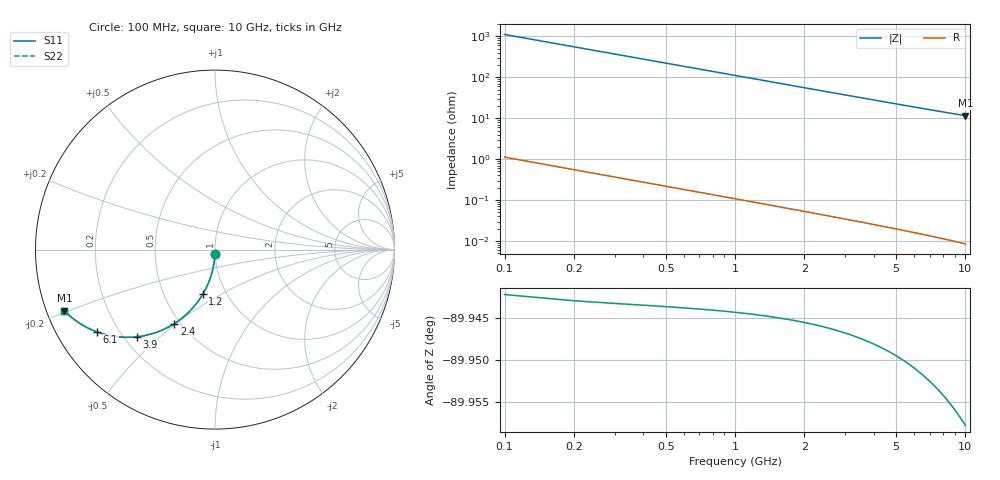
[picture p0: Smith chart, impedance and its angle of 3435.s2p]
# Hz S RI R 50.00
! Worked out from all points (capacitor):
!   100 points, 100 MHz to 10 GHz, reference 50 ohm
!   read as one part in shunt: C = 1.43 pF near 100 MHz
!   lowest |Z| = 11.5 ohm at 10 GHz (marker M1)
!   S11 on the Smith chart (normalised r, x): 100 MHz: 1.00, -0.04; 1.2 GHz: 0.78, -0.41; 2.4 GHz: 0.47, -0.49; 3.9 GHz: 0.25, -0.42; 6.1 GHz: 0.12, -0.31; 10 GHz: 0.05, -0.19
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1e8  -0.000412 -0.0223  0.9994 -0.0228  0.9994 -0.0228  -0.000412 -0.0223
2e8  -0.00195 -0.0445  0.9978 -0.0454  0.9978 -0.0454  -0.00195 -0.0445
3e8  -0.00449 -0.0665  0.9953 -0.068  0.9953 -0.068  -0.00449 -0.0665
4e8  -0.00802 -0.0884  0.9917 -0.0903  0.9917 -0.0903  -0.00802 -0.0884
5e8  -0.0125 -0.1099  0.9872 -0.1124  0.9872 -0.1124  -0.0125 -0.1099
6e8  -0.0179 -0.1312  0.9818 -0.1341  0.9818 -0.1341  -0.0179 -0.1312
7e8  -0.0243 -0.1521  0.9755 -0.1555  0.9755 -0.1555  -0.0243 -0.1521
9e8  -0.0395 -0.1924  0.9602 -0.1968  0.9602 -0.1968  -0.0395 -0.1924
1.2e9  -0.0682 -0.2488  0.9316 -0.2547  0.9316 -0.2547  -0.0682 -0.2488
1.5e9  -0.1026 -0.2994  0.8971 -0.3068  0.8971 -0.3068  -0.1026 -0.2994
1.8e9  -0.1414 -0.3436  0.8583 -0.3525  0.8583 -0.3525  -0.1414 -0.3436
2.1e9  -0.1831 -0.3812  0.8166 -0.3916  0.8166 -0.3916  -0.1831 -0.3812
2.4e9  -0.2265 -0.4122  0.7732 -0.4241  0.7732 -0.4241  -0.2265 -0.4122
2.9e9  -0.2996 -0.4505  0.7 -0.4648  0.7 -0.4648  -0.2996 -0.4505
3.4e9  -0.3705 -0.4741  0.6291 -0.4909  0.6291 -0.4909  -0.3705 -0.4741
3.9e9  -0.4366 -0.4858  0.5629 -0.5051  0.5629 -0.5051  -0.4366 -0.4858
5.1e9  -0.5707 -0.4817  0.4287 -0.5071  0.4287 -0.5071  -0.5707 -0.4817
6.1e9  -0.6561 -0.4591  0.3432 -0.4896  0.3432 -0.4896  -0.6561 -0.4591
6.7e9  -0.6976 -0.4418  0.3016 -0.4754  0.3016 -0.4754  -0.6976 -0.4418
7.5e9  -0.7436 -0.417  0.2554 -0.4547  0.2554 -0.4547  -0.7436 -0.417
8.4e9  -0.7851 -0.3886  0.2137 -0.431  0.2137 -0.431  -0.7851 -0.3886
1e10  -0.8392 -0.3406  0.1592 -0.3915  0.1592 -0.3915  -0.8392 -0.3406
